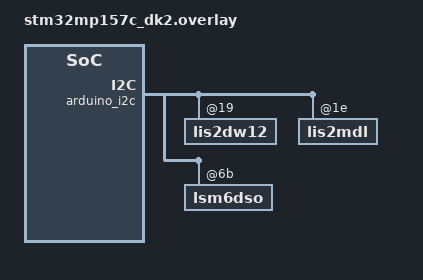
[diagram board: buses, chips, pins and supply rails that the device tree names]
/*
 * Copyright (c) 2019 Linaro Limited
 *
 * SPDX-License-Identifier: Apache-2.0
 */

/*
 * On stm32mp157c_dk2 pin A3 is not mapped on a GPIO pin.
 * Delete this optional property for shield/board compatibility
 */

&arduino_i2c {
	lis2dw12@19 {
		/delete-property/ irq-gpios;	/* A3 */
	};

	lis2mdl@1e {
		/delete-property/ irq-gpios;    /* A3 */
	};

	lsm6dso@6b {
		/delete-property/ irq-gpios;    /* A3 */
	};
};
